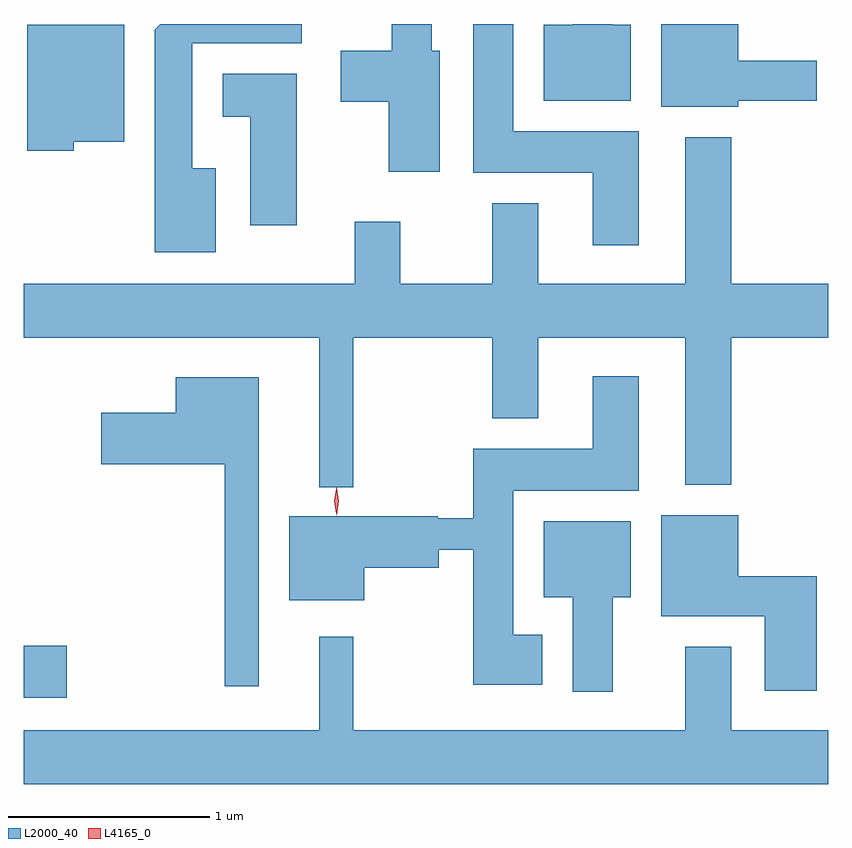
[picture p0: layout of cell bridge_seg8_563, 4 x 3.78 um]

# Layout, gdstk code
import gdstk
lib = gdstk.Library(unit=1e-6, precision=1e-09)
def R(c, l, rs):  # rectangles x0, y0, x1, y1
    for r in rs: c.add(gdstk.rectangle(r[:2], r[2:], *l))
def P(c, l, *ps):  # polygons
    for p in ps: c.add(gdstk.Polygon(p, *l))
L2000_40 = (2000, 40)
L4165_0 = (4165, 0)

bridge_seg8_563 = lib.new_cell('bridge_seg8_563')
R(bridge_seg8_563, L2000_40, [(564.561,1845.726,564.774,1845.984)])
P(bridge_seg8_563, L2000_40, [(568.114,1848.696),(568.504,1848.696),(568.504,1848.894),(568.114,1848.894),(568.114,1849.077),(567.731,1849.077),(567.731,1848.666),(568.114,1848.666)],
  [(567.579,1849.074),(567.489,1849.074),(567.489,1849.077),(567.291,1849.077),(567.291,1849.074),(567.146,1849.074),(567.146,1848.696),(567.579,1848.696)],
  [(567.619,1848.544),(566.994,1848.544),(566.994,1849.077),(566.796,1849.077),(566.796,1848.336),(567.391,1848.336),(567.391,1847.976),(567.619,1847.976)],
  [(565.514,1848.359),(565.399,1848.359),(565.399,1848.981),(565.944,1848.981),(565.944,1849.077),(565.239,1849.077),(565.211,1849.049),(565.211,1847.941),(565.514,1847.941)],
  [(566.629,1848.944),(566.589,1848.944),(566.589,1849.077),(566.391,1849.077),(566.391,1848.944),(566.136,1848.944),(566.136,1848.691),(566.376,1848.691),(566.376,1848.341),(566.629,1848.341)],
  [(564.809,1848.491),(565.059,1848.491),(565.059,1849.074),(564.576,1849.074),(564.576,1848.446),(564.809,1848.446)],
  [(565.919,1848.829),(565.551,1848.829),(565.551,1848.616),(565.686,1848.616),(565.686,1848.076),(565.919,1848.076)],
  [(566.199,1847.516),(566.891,1847.516),(566.891,1847.116),(567.119,1847.116),(567.119,1847.516),(567.851,1847.516),(567.851,1846.786),(568.079,1846.786),(568.079,1847.516),(568.561,1847.516),(568.561,1847.784),(568.079,1847.784),(568.079,1848.514),(567.851,1848.514),(567.851,1847.784),(567.119,1847.784),(567.119,1848.184),(566.891,1848.184),(566.891,1847.784),(566.434,1847.784),(566.434,1848.094),(566.206,1848.094),(566.206,1847.784),(564.561,1847.784),(564.561,1847.516),(566.031,1847.516),(566.031,1846.773),(566.199,1846.773)],
  [(567.139,1846.039),(566.994,1846.039),(566.994,1846.756),(567.619,1846.756),(567.619,1847.324),(567.391,1847.324),(567.391,1846.964),(566.796,1846.964),(566.796,1846.619),(566.62,1846.619),(566.62,1846.629),(565.881,1846.629),(565.881,1846.211),(566.254,1846.211),(566.254,1846.371),(566.624,1846.371),(566.624,1846.461),(566.796,1846.461),(566.796,1845.791),(567.139,1845.791)],
  [(565.729,1847.319),(565.316,1847.319),(565.316,1847.144),(564.946,1847.144),(564.946,1846.886),(565.561,1846.886),(565.561,1845.783),(565.729,1845.783)],
  [(568.504,1846.329),(568.114,1846.329),(568.114,1846.634),(567.731,1846.634),(567.731,1846.131),(568.246,1846.131),(568.246,1845.761),(568.504,1845.761)],
  [(567.489,1846.226),(567.579,1846.226),(567.579,1846.604),(567.146,1846.604),(567.146,1846.226),(567.291,1846.226),(567.291,1845.756),(567.489,1845.756)],
  [(568.561,1845.564),(568.079,1845.564),(568.079,1845.979),(567.851,1845.979),(567.851,1845.564),(566.199,1845.564),(566.199,1846.028),(566.031,1846.028),(566.031,1845.564),(564.561,1845.564),(564.561,1845.296),(568.561,1845.296)])
P(bridge_seg8_563, L4165_0, [(566.117,1846.634),(566.107,1846.702),(566.117,1846.77),(566.118,1846.77),(566.118,1846.77),(566.128,1846.702),(566.118,1846.634),(566.118,1846.634)],
  [(566.114,1846.64),(566.114,1846.641),(566.104,1846.704),(566.114,1846.766),(566.115,1846.767),(566.115,1846.766),(566.124,1846.703),(566.115,1846.641)])

lib.write_gds('bridge_seg8_563.gds')
